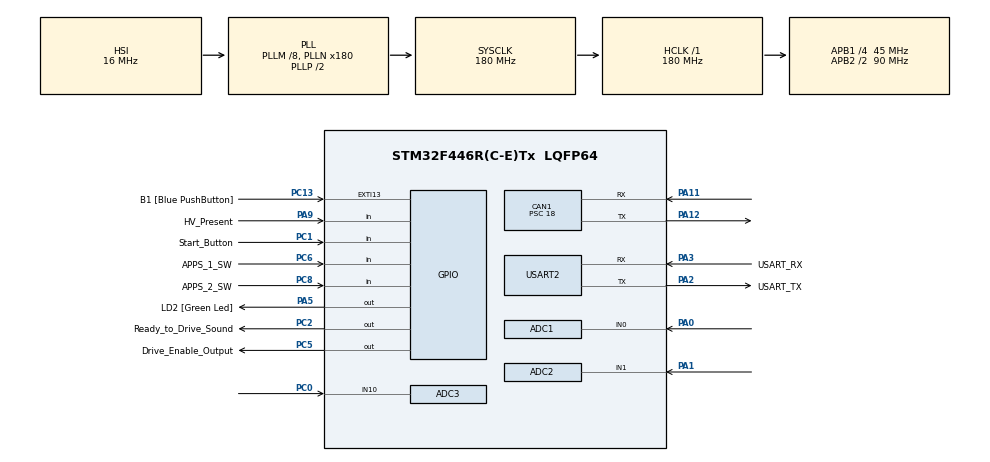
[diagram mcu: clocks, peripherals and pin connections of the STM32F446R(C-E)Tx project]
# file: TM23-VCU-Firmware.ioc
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ADC1.Channel-1\#ChannelRegularConversion=ADC_CHANNEL_0
ADC1.ContinuousConvMode=ENABLE
ADC1.DMAContinuousRequests=ENABLE
ADC1.NbrOfConversion=1
ADC1.NbrOfConversionFlag=1
ADC1.Rank-1\#ChannelRegularConversion=1
ADC1.SamplingTime-1\#ChannelRegularConversion=ADC_SAMPLETIME_3CYCLES
ADC1.master=1
ADC2.Channel-0\#ChannelRegularConversion=ADC_CHANNEL_1
ADC2.ContinuousConvMode=ENABLE
ADC2.DMAContinuousRequests=ENABLE
ADC2.NbrOfConversionFlag=1
ADC2.Rank-0\#ChannelRegularConversion=1
ADC2.SamplingTime-0\#ChannelRegularConversion=ADC_SAMPLETIME_3CYCLES
ADC2.ScanConvMode=DISABLE
ADC3.Channel-0\#ChannelRegularConversion=ADC_CHANNEL_10
ADC3.ContinuousConvMode=ENABLE
ADC3.DMAContinuousRequests=ENABLE
ADC3.NbrOfConversion=1
ADC3.NbrOfConversionFlag=1
ADC3.Rank-0\#ChannelRegularConversion=1
ADC3.SamplingTime-0\#ChannelRegularConversion=ADC_SAMPLETIME_3CYCLES
CAN1.BS1=CAN_BS1_2TQ
CAN1.BS2=CAN_BS2_2TQ
CAN1.CalculateBaudRate=500000
CAN1.CalculateTimeBit=2000
CAN1.CalculateTimeQuantum=400.0
CAN1.NART=ENABLE
CAN1.Prescaler=18
Dma.ADC1.0.Direction=DMA_PERIPH_TO_MEMORY
Dma.ADC1.0.FIFOMode=DMA_FIFOMODE_ENABLE
Dma.ADC1.0.FIFOThreshold=DMA_FIFO_THRESHOLD_FULL
Dma.ADC1.0.Instance=DMA2_Stream0
Dma.ADC1.0.MemBurst=DMA_MBURST_SINGLE
Dma.ADC1.0.MemDataAlignment=DMA_MDATAALIGN_HALFWORD
Dma.ADC1.0.MemInc=DMA_MINC_ENABLE
Dma.ADC1.0.Mode=DMA_CIRCULAR
Dma.ADC1.0.PeriphBurst=DMA_PBURST_SINGLE
Dma.ADC1.0.PeriphDataAlignment=DMA_PDATAALIGN_HALFWORD
Dma.ADC1.0.PeriphInc=DMA_PINC_DISABLE
Dma.ADC1.0.Priority=DMA_PRIORITY_LOW
Dma.ADC2.1.Direction=DMA_PERIPH_TO_MEMORY
Dma.ADC2.1.FIFOMode=DMA_FIFOMODE_ENABLE
Dma.ADC2.1.FIFOThreshold=DMA_FIFO_THRESHOLD_FULL
Dma.ADC2.1.Instance=DMA2_Stream2
Dma.ADC2.1.MemBurst=DMA_MBURST_SINGLE
Dma.ADC2.1.MemDataAlignment=DMA_MDATAALIGN_HALFWORD
Dma.ADC2.1.MemInc=DMA_MINC_ENABLE
Dma.ADC2.1.Mode=DMA_CIRCULAR
Dma.ADC2.1.PeriphBurst=DMA_PBURST_SINGLE
Dma.ADC2.1.PeriphDataAlignment=DMA_PDATAALIGN_HALFWORD
Dma.ADC2.1.PeriphInc=DMA_PINC_DISABLE
Dma.ADC2.1.Priority=DMA_PRIORITY_LOW
Dma.ADC3.2.Direction=DMA_PERIPH_TO_MEMORY
Dma.ADC3.2.FIFOMode=DMA_FIFOMODE_ENABLE
Dma.ADC3.2.FIFOThreshold=DMA_FIFO_THRESHOLD_FULL
Dma.ADC3.2.Instance=DMA2_Stream1
Dma.ADC3.2.MemBurst=DMA_MBURST_SINGLE
Dma.ADC3.2.MemDataAlignment=DMA_MDATAALIGN_HALFWORD
Dma.ADC3.2.MemInc=DMA_MINC_ENABLE
Dma.ADC3.2.Mode=DMA_CIRCULAR
Dma.ADC3.2.PeriphBurst=DMA_PBURST_SINGLE
Dma.ADC3.2.PeriphDataAlignment=DMA_PDATAALIGN_HALFWORD
Dma.ADC3.2.PeriphInc=DMA_PINC_DISABLE
Dma.ADC3.2.Priority=DMA_PRIORITY_LOW
Dma.Request0=ADC1
Dma.Request1=ADC2
Dma.Request2=ADC3
Mcu.Family=STM32F4
Mcu.Name=STM32F446R(C-E)Tx
Mcu.Package=LQFP64
NVIC.CAN1_RX0_IRQn=true\:0\:0\:false\:false\:true\:true\:true\:true
NVIC.DMA2_Stream0_IRQn=true\:0\:0\:false\:false\:true\:false\:true\:true
NVIC.DMA2_Stream1_IRQn=true\:0\:0\:false\:false\:true\:false\:true\:true
NVIC.DMA2_Stream2_IRQn=true\:0\:0\:false\:false\:true\:false\:true\:true
NVIC.PriorityGroup=NVIC_PRIORITYGROUP_0
PA0-WKUP.Signal=ADCx_IN0
PA1.Signal=ADCx_IN1
PA11.Mode=CAN_Activate
PA11.Signal=CAN1_RX
PA12.Mode=CAN_Activate
PA12.Signal=CAN1_TX
PA13.GPIO_Label=TMS
PA13.Mode=Serial_Wire
PA13.Signal=SYS_JTMS-SWDIO
PA14.GPIO_Label=TCK
PA14.Mode=Serial_Wire
PA14.Signal=SYS_JTCK-SWCLK
PA2.GPIO_Label=USART_TX
PA2.Mode=Asynchronous
PA2.Signal=USART2_TX
PA3.GPIO_Label=USART_RX
PA3.Mode=Asynchronous
PA3.Signal=USART2_RX
PA5.GPIO_Label=LD2 [Green Led]
PA5.Signal=GPIO_Output
PA9.GPIO_Label=HV_Present
PA9.Signal=GPIO_Input
PB3.GPIO_Label=SWO
PB3.Signal=SYS_JTDO-SWO
PC0.Signal=ADCx_IN10
PC1.GPIO_Label=Start_Button
PC1.Signal=GPIO_Input
PC13.GPIO_Label=B1 [Blue PushButton]
PC13.GPIO_ModeDefaultEXTI=GPIO_MODE_IT_FALLING
PC13.Signal=GPXTI13
PC14-OSC32_IN.Mode=LSE-External-Oscillator
PC14-OSC32_IN.Signal=RCC_OSC32_IN
PC15-OSC32_OUT.Mode=LSE-External-Oscillator
PC15-OSC32_OUT.Signal=RCC_OSC32_OUT
PC2.GPIO_Label=Ready_to_Drive_Sound
PC2.Signal=GPIO_Output
PC5.GPIO_Label=Drive_Enable_Output
PC5.GPIO_ModeDefaultOutputPP=GPIO_MODE_OUTPUT_OD
PC5.GPIO_PuPd=GPIO_PULLUP
PC5.PinState=GPIO_PIN_RESET
PC5.Signal=GPIO_Output
PC6.GPIO_Label=APPS_1_SW
PC6.Signal=GPIO_Input
PC8.GPIO_Label=APPS_2_SW
PC8.Signal=GPIO_Input
PH0-OSC_IN.Mode=HSE-External-Oscillator
PH0-OSC_IN.Signal=RCC_OSC_IN
PH1-OSC_OUT.Mode=HSE-External-Oscillator
PH1-OSC_OUT.Signal=RCC_OSC_OUT
ProjectManager.HeapSize=0x200
ProjectManager.StackSize=0x400
ProjectManager.TargetToolchain=STM32CubeIDE
RCC.48MHZClocksFreq_Value=84000000
RCC.AHBFreq_Value=180000000
RCC.APB1CLKDivider=RCC_HCLK_DIV4
RCC.APB1Freq_Value=45000000
RCC.APB1TimFreq_Value=90000000
RCC.APB2CLKDivider=RCC_HCLK_DIV2
RCC.APB2Freq_Value=90000000
RCC.APB2TimFreq_Value=180000000
RCC.CortexFreq_Value=180000000
RCC.FLatency-AdvancedSettings=FLASH_LATENCY_5
RCC.HCLKFreq_Value=180000000
RCC.HSE_VALUE=8000000
RCC.HSI_VALUE=16000000
RCC.PLLM=8
RCC.PLLN=180
RCC.SYSCLKFreq_VALUE=180000000
RCC.SYSCLKSource=RCC_SYSCLKSOURCE_PLLCLK
RCC.USBFreq_Value=180000000
RCC.VCOOutputFreq_Value=360000000
SH.ADCx_IN0.0=ADC1_IN0,IN0
SH.ADCx_IN1.0=ADC2_IN1,IN1
SH.ADCx_IN10.0=ADC3_IN10,IN10
USART2.VirtualMode=VM_ASYNC
board=NUCLEO-F446RE

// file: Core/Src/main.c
/* USER CODE BEGIN Header */
/**
 ******************************************************************************
 * @file           : main.c
 * @brief          : Main program body
 ******************************************************************************
 * @attention
 *
 * Copyright (c) 2022 STMicroelectronics.
 * All rights reserved.
 *
 * This software is licensed under terms that can be found in the LICENSE file
 * in the root directory of this software component.
 * If no LICENSE file comes with this software, it is provided AS-IS.
 *
 ******************************************************************************
 */
/* USER CODE END Header */
#include "main.h"

/* USER CODE BEGIN Includes */
#include <string.h>
#include <stdio.h>
#include <stdbool.h>
#include <stdlib.h>
#include <states.h>
/* USER CODE END Includes */

/* USER CODE BEGIN PD */
//#define APPS_BUF_LEN 4096
const uint32_t bpsThreshold = 2000; //need to set to store the signal value which corresponds to brakes being pressed
const uint32_t bps_MIN = 400; //Below range ADC value for BPS
const uint32_t bps_MAX = 3900; //Above range ADC value for BPS
const uint32_t APPS_0_MIN = 200; //Below range ADC value for APPS_0
const uint32_t APPS_0_MAX = 2800; //Above range ADC value for APPS_0
const uint32_t APPS_1_MIN = 400; //Below range ADC value for APPS_1
const uint32_t APPS_1_MAX = 3900; //Above range ADC value for APPS_1

//#define LOOP_TIME_INTERVAL  0.001 //loop time in counts x milliseconds, 0.001 x 0.001 == 0.001s -> 10000Hz
#define LOOP_TIME_INTERVAL  100 //loop time in counts x milliseconds, 100 x 0.001 == 0.1s -> 10Hz
#define SQRT_2 1.4142
/* USER CODE END PD */

ADC_HandleTypeDef hadc1;
ADC_HandleTypeDef hadc2;
ADC_HandleTypeDef hadc3;
DMA_HandleTypeDef hdma_adc1;
DMA_HandleTypeDef hdma_adc2;
DMA_HandleTypeDef hdma_adc3;

CAN_HandleTypeDef hcan1;

UART_HandleTypeDef huart2;

/* USER CODE BEGIN PV */
//uint16_t apps_Buf[APPS_BUF_LEN];
uint32_t appsVal[2]; //to store APPS ADC values
uint32_t apps_Pedal_Position[2]; //to store APPS Pedal Position Values (in %)

uint32_t bpsVal[2]; //to store Brake Pressure Sensor values

uint8_t BMS_Current_Limit;
float DC_Max_Current = 100.0;
float AC_Max_Current = 100.0 * SQRT_2; //Peak not RMS

//CAN Message ID's
uint32_t BMS_Current_Limit_ID = 0x00000A07;
uint32_t Drive_Enable_ID = 0x00000C07;
uint32_t Set_AC_Current_ID = 0x00000107;

bool ready_to_drive = false;

bool APPS_Failure = false;
bool implausibility = false;
bool bms_Current_Limit_Ready = false;
/* USER CODE END PV */

void SystemClock_Config(void);
static void MX_GPIO_Init(void);
static void MX_DMA_Init(void);
static void MX_USART2_UART_Init(void);
static void MX_ADC1_Init(void);
static void MX_ADC2_Init(void);
static void MX_ADC3_Init(void);
static void MX_CAN1_Init(void);
/* USER CODE BEGIN PFP */
static void monitor_Signals(void);
static void Ready_to_Drive(void);
static void APPS_Mapping(uint32_t *appsVal_0, uint32_t *appsVal_1,
		uint32_t apps_PP[]);
static void running_State(void);
static void BSPD_Trip_State(void);
static void error_State(void);
/* USER CODE END PFP */

/* USER CODE BEGIN 0 */
CAN_TxHeaderTypeDef TxHeader;
CAN_RxHeaderTypeDef RxHeader;

uint8_t TxData[8];
uint8_t RxData[8];

uint32_t TxMailbox;

char msg[256];
char msg1[256];
uint32_t current_time, time_diff, prev_time, main_loop_count;

//FSM Definitions
STATEVAR current_State = STANDBY_STATE;
STATEVAR last_State = UNDEFINED_STATE;
uint8_t errorCode = ERR_NONE;

//void HAL_CAN_RxFifo0MsgPendingCallback(CAN_HandleTypeDef *hcan) {
//
//	if (HAL_CAN_GetRxMessage(hcan, CAN_RX_FIFO0, &RxHeader, RxData) != HAL_OK) {
//		Error_Handler();
//	}
//
//	//Received message from BMS about current limit (Need to config. CAN filter, so VCU only accepts messages from BMS based on BMS CAN I.D)
//	if (RxHeader.ExtId == BMS_Current_Limit_ID) {
//		bms_Current_Limit_Ready = true;
//		BMS_Current_Limit = RxData[1] / 10;
//		sprintf(msg, "BMS_Current_Limit (%ld) = %d \r\n", RxHeader.ExtId,
//				BMS_Current_Limit);
//		HAL_UART_Transmit(&huart2, (uint8_t*) msg, strlen(msg), HAL_MAX_DELAY);
//	} //end if
//}
/* USER CODE END 0 */

int main(void) {

	/* MCU Configuration--------------------------------------------------------*/

	/* Reset of all peripherals, Initializes the Flash interface and the Systick. */
	HAL_Init();

	/* Configure the system clock */
	SystemClock_Config();

	/* Initialize all configured peripherals */
	MX_GPIO_Init();
	MX_DMA_Init();
	MX_USART2_UART_Init();
	MX_ADC1_Init();
	MX_ADC2_Init();
	MX_ADC3_Init();
	MX_CAN1_Init();
	/* USER CODE BEGIN 2 */
	HAL_ADC_Start_DMA(&hadc1, &appsVal[0], 1); //start the ADC for APPS 1 (Rotational Sensor) in DMA mode
	HAL_ADC_Start_DMA(&hadc2, &appsVal[1], 1); //start the ADC for APPS 2 (Linear Sensor) in DMA mode
	HAL_ADC_Start_DMA(&hadc3, &bpsVal[0], 1); //start the ADC for Brake Pressure Sensors in DMA mode

	//Start the CAN Bus
//	HAL_CAN_Start(&hcan1);
//
////	Initialize the CAN RX Interrupt
//	if (HAL_CAN_ActivateNotification(&hcan1, CAN_IT_RX_FIFO0_MSG_PENDING)
//			!= HAL_OK) {
//		Error_Handler();
//	}
//
//	//Setting Required Data Values for CAN frame
//	TxHeader.DLC = 8;	//data length in bytes
////	TxHeader.IDE = CAN_ID_STD; //specify standard CAN ID
//	TxHeader.IDE = CAN_ID_EXT; //specify Extended CAN ID
//	TxHeader.RTR = CAN_RTR_DATA; //specifies we are sending a CAN frame
//	TxHeader.TransmitGlobalTime = DISABLE;

	char msg[256];
//	uint32_t AC_Current_Command;
//	uint32_t ERPM_command;

	//initialize counters
	prev_time = 0;
	current_time = 0;
	time_diff = 0;
	main_loop_count = 0;

	/* USER CODE END 2 */

	/* Infinite loop */
	while (1) {

		/* USER CODE BEGIN 3 */

		//Should always be monitoring for signals from APPS, Brake sensors and TS active
		monitor_Signals();

		// FSM (Finite State Machine)
		switch (current_State) {

		case STANDBY_STATE:
			Ready_to_Drive();
			break;

		case RUNNING_STATE:
			running_State();
			break;

		case BSPD_TRIP_STATE:
			BSPD_Trip_State();
			break;

		case ERROR_STATE:
			error_State();

		default: // You tried to enter a state not defined in this switch-case
			current_State = ERROR_STATE;
			errorCode |= ERR_STATE_UNDEFINED;
			error_State();

		} //end switch case

		time_diff = current_time - prev_time; //calculate time difference

		if (time_diff >= LOOP_TIME_INTERVAL) {

			// if 100ms have elapsed since last time this condition became true,
			// then execute your program functions

			/* execute your program functions*/
			HAL_GPIO_TogglePin(GPIOA, GPIO_PIN_5);

//			APPS_Mapping(&appsVal[0], &appsVal[1], apps_Pedal_Position);
//
//			sprintf(msg, "APPS_1 = %lu \t APPS_2 = %lu \t PP1 = %lu \t\r\n",
//					appsVal[0], appsVal[1], apps_Pedal_Position[0]);
//			HAL_UART_Transmit(&huart2, (uint8_t*) msg, strlen(msg),
//			HAL_MAX_DELAY);

			prev_time = current_time; // update previous time

		} else {
			current_time = HAL_GetTick();
		}
		main_loop_count++;

	} //end infinite while loop

	/* USER CODE END 3 */
}

void SystemClock_Config(void) {
	RCC_OscInitTypeDef RCC_OscInitStruct = { 0 };
	RCC_ClkInitTypeDef RCC_ClkInitStruct = { 0 };

	/** Configure the main internal regulator output voltage
	 */
	__HAL_RCC_PWR_CLK_ENABLE();
	__HAL_PWR_VOLTAGESCALING_CONFIG(PWR_REGULATOR_VOLTAGE_SCALE1);

	/** Initializes the RCC Oscillators according to the specified parameters
	 * in the RCC_OscInitTypeDef structure.
	 */
	RCC_OscInitStruct.OscillatorType = RCC_OSCILLATORTYPE_HSI;
	RCC_OscInitStruct.HSIState = RCC_HSI_ON;
	RCC_OscInitStruct.HSICalibrationValue = RCC_HSICALIBRATION_DEFAULT;
	RCC_OscInitStruct.PLL.PLLState = RCC_PLL_ON;
	RCC_OscInitStruct.PLL.PLLSource = RCC_PLLSOURCE_HSI;
	RCC_OscInitStruct.PLL.PLLM = 8;
	RCC_OscInitStruct.PLL.PLLN = 180;
	RCC_OscInitStruct.PLL.PLLP = RCC_PLLP_DIV2;
	RCC_OscInitStruct.PLL.PLLQ = 2;
	RCC_OscInitStruct.PLL.PLLR = 2;
	if (HAL_RCC_OscConfig(&RCC_OscInitStruct) != HAL_OK) {
		Error_Handler();
	}

	/** Activate the Over-Drive mode
	 */
	if (HAL_PWREx_EnableOverDrive() != HAL_OK) {
		Error_Handler();
	}

	/** Initializes the CPU, AHB and APB buses clocks
	 */
	RCC_ClkInitStruct.ClockType = RCC_CLOCKTYPE_HCLK | RCC_CLOCKTYPE_SYSCLK
			| RCC_CLOCKTYPE_PCLK1 | RCC_CLOCKTYPE_PCLK2;
	RCC_ClkInitStruct.SYSCLKSource = RCC_SYSCLKSOURCE_PLLCLK;
	RCC_ClkInitStruct.AHBCLKDivider = RCC_SYSCLK_DIV1;
	RCC_ClkInitStruct.APB1CLKDivider = RCC_HCLK_DIV4;
	RCC_ClkInitStruct.APB2CLKDivider = RCC_HCLK_DIV2;

	if (HAL_RCC_ClockConfig(&RCC_ClkInitStruct, FLASH_LATENCY_5) != HAL_OK) {
		Error_Handler();
	}
}

static void MX_ADC1_Init(void) {

	ADC_ChannelConfTypeDef sConfig = { 0 };

	/** Configure the global features of the ADC (Clock, Resolution, Data Alignment and number of conversion)
	 */
	hadc1.Instance = ADC1;
	hadc1.Init.ClockPrescaler = ADC_CLOCK_SYNC_PCLK_DIV4;
	hadc1.Init.Resolution = ADC_RESOLUTION_12B;
	hadc1.Init.ScanConvMode = DISABLE;
	hadc1.Init.ContinuousConvMode = ENABLE;
	hadc1.Init.DiscontinuousConvMode = DISABLE;
	hadc1.Init.ExternalTrigConvEdge = ADC_EXTERNALTRIGCONVEDGE_NONE;
	hadc1.Init.ExternalTrigConv = ADC_SOFTWARE_START;
	hadc1.Init.DataAlign = ADC_DATAALIGN_RIGHT;
	hadc1.Init.NbrOfConversion = 1;
	hadc1.Init.DMAContinuousRequests = ENABLE;
	hadc1.Init.EOCSelection = ADC_EOC_SINGLE_CONV;
	if (HAL_ADC_Init(&hadc1) != HAL_OK) {
		Error_Handler();
	}

	/** Configure for the selected ADC regular channel its corresponding rank in the sequencer and its sample time.
	 */
	sConfig.Channel = ADC_CHANNEL_0;
	sConfig.Rank = 1;
	sConfig.SamplingTime = ADC_SAMPLETIME_3CYCLES;
	if (HAL_ADC_ConfigChannel(&hadc1, &sConfig) != HAL_OK) {
		Error_Handler();
	}

}

static void MX_ADC2_Init(void) {

	ADC_ChannelConfTypeDef sConfig = { 0 };

	/** Configure the global features of the ADC (Clock, Resolution, Data Alignment and number of conversion)
	 */
	hadc2.Instance = ADC2;
	hadc2.Init.ClockPrescaler = ADC_CLOCK_SYNC_PCLK_DIV4;
	hadc2.Init.Resolution = ADC_RESOLUTION_12B;
	hadc2.Init.ScanConvMode = DISABLE;
	hadc2.Init.ContinuousConvMode = ENABLE;
	hadc2.Init.DiscontinuousConvMode = DISABLE;
	hadc2.Init.ExternalTrigConvEdge = ADC_EXTERNALTRIGCONVEDGE_NONE;
	hadc2.Init.ExternalTrigConv = ADC_SOFTWARE_START;
	hadc2.Init.DataAlign = ADC_DATAALIGN_RIGHT;
	hadc2.Init.NbrOfConversion = 1;
	hadc2.Init.DMAContinuousRequests = ENABLE;
	hadc2.Init.EOCSelection = ADC_EOC_SINGLE_CONV;
	if (HAL_ADC_Init(&hadc2) != HAL_OK) {
		Error_Handler();
	}

	/** Configure for the selected ADC regular channel its corresponding rank in the sequencer and its sample time.
	 */
	sConfig.Channel = ADC_CHANNEL_1;
	sConfig.Rank = 1;
	sConfig.SamplingTime = ADC_SAMPLETIME_3CYCLES;
	if (HAL_ADC_ConfigChannel(&hadc2, &sConfig) != HAL_OK) {
		Error_Handler();
	}

}

static void MX_ADC3_Init(void) {

	ADC_ChannelConfTypeDef sConfig = { 0 };

	/** Configure the global features of the ADC (Clock, Resolution, Data Alignment and number of conversion)
	 */
	hadc3.Instance = ADC3;
	hadc3.Init.ClockPrescaler = ADC_CLOCK_SYNC_PCLK_DIV4;
	hadc3.Init.Resolution = ADC_RESOLUTION_12B;
	hadc3.Init.ScanConvMode = DISABLE;
	hadc3.Init.ContinuousConvMode = ENABLE;
	hadc3.Init.DiscontinuousConvMode = DISABLE;
	hadc3.Init.ExternalTrigConvEdge = ADC_EXTERNALTRIGCONVEDGE_NONE;
	hadc3.Init.ExternalTrigConv = ADC_SOFTWARE_START;
	hadc3.Init.DataAlign = ADC_DATAALIGN_RIGHT;
	hadc3.Init.NbrOfConversion = 1;
	hadc3.Init.DMAContinuousRequests = ENABLE;
	hadc3.Init.EOCSelection = ADC_EOC_SINGLE_CONV;
	if (HAL_ADC_Init(&hadc3) != HAL_OK) {
		Error_Handler();
	}

	/** Configure for the selected ADC regular channel its corresponding rank in the sequencer and its sample time.
	 */
	sConfig.Channel = ADC_CHANNEL_10;
	sConfig.Rank = 1;
	sConfig.SamplingTime = ADC_SAMPLETIME_3CYCLES;
	if (HAL_ADC_ConfigChannel(&hadc3, &sConfig) != HAL_OK) {
		Error_Handler();
	}

}

static void MX_CAN1_Init(void) {

	hcan1.Instance = CAN1;
	hcan1.Init.Prescaler = 18;
	hcan1.Init.Mode = CAN_MODE_NORMAL;
	hcan1.Init.SyncJumpWidth = CAN_SJW_1TQ;
	hcan1.Init.TimeSeg1 = CAN_BS1_2TQ;
	hcan1.Init.TimeSeg2 = CAN_BS2_2TQ;
	hcan1.Init.TimeTriggeredMode = DISABLE;
	hcan1.Init.AutoBusOff = DISABLE;
	hcan1.Init.AutoWakeUp = DISABLE;
	hcan1.Init.AutoRetransmission = ENABLE;
	hcan1.Init.ReceiveFifoLocked = DISABLE;
	hcan1.Init.TransmitFifoPriority = DISABLE;
	if (HAL_CAN_Init(&hcan1) != HAL_OK) {
		Error_Handler();
	}
	/* USER CODE BEGIN CAN1_Init 2 */
	CAN_FilterTypeDef canfilterconfig;
	canfilterconfig.FilterActivation = CAN_FILTER_ENABLE;
	canfilterconfig.FilterBank = 0;
	canfilterconfig.FilterFIFOAssignment = CAN_RX_FIFO0;
	canfilterconfig.FilterIdHigh = 0;
	canfilterconfig.FilterIdLow = 0x0000;
	canfilterconfig.FilterMaskIdHigh = 0;
	canfilterconfig.FilterMaskIdLow = 0x0000;
	canfilterconfig.FilterMode = CAN_FILTERMODE_IDMASK;
	canfilterconfig.FilterScale = CAN_FILTERSCALE_32BIT;
	canfilterconfig.SlaveStartFilterBank = 0; // how many filters to assign to the CAN1 (master can)

	HAL_CAN_ConfigFilter(&hcan1, &canfilterconfig);
	/* USER CODE END CAN1_Init 2 */

}

static void MX_USART2_UART_Init(void) {

	huart2.Instance = USART2;
	huart2.Init.BaudRate = 115200;
	huart2.Init.WordLength = UART_WORDLENGTH_8B;
	huart2.Init.StopBits = UART_STOPBITS_1;
	huart2.Init.Parity = UART_PARITY_NONE;
	huart2.Init.Mode = UART_MODE_TX_RX;
	huart2.Init.HwFlowCtl = UART_HWCONTROL_NONE;
	huart2.Init.OverSampling = UART_OVERSAMPLING_16;
	if (HAL_UART_Init(&huart2) != HAL_OK) {
		Error_Handler();
	}

}

static void MX_DMA_Init(void) {

	/* DMA controller clock enable */
	__HAL_RCC_DMA2_CLK_ENABLE();

	/* DMA interrupt init */
	/* DMA2_Stream0_IRQn interrupt configuration */
	HAL_NVIC_SetPriority(DMA2_Stream0_IRQn, 0, 0);
	HAL_NVIC_EnableIRQ(DMA2_Stream0_IRQn);
	/* DMA2_Stream1_IRQn interrupt configuration */
	HAL_NVIC_SetPriority(DMA2_Stream1_IRQn, 0, 0);
	HAL_NVIC_EnableIRQ(DMA2_Stream1_IRQn);
	/* DMA2_Stream2_IRQn interrupt configuration */
	HAL_NVIC_SetPriority(DMA2_Stream2_IRQn, 0, 0);
	HAL_NVIC_EnableIRQ(DMA2_Stream2_IRQn);

}

static void MX_GPIO_Init(void) {
	GPIO_InitTypeDef GPIO_InitStruct = { 0 };

	/* GPIO Ports Clock Enable */
	__HAL_RCC_GPIOC_CLK_ENABLE();
	__HAL_RCC_GPIOH_CLK_ENABLE();
	__HAL_RCC_GPIOA_CLK_ENABLE();
	__HAL_RCC_GPIOB_CLK_ENABLE();

	/*Configure GPIO pin Output Level */
	HAL_GPIO_WritePin(GPIOC, Ready_to_Drive_Sound_Pin | Drive_Enable_Output_Pin,
			GPIO_PIN_RESET);

	/*Configure GPIO pin Output Level */
	HAL_GPIO_WritePin(LD2_GPIO_Port, LD2_Pin, GPIO_PIN_RESET);

	/*Configure GPIO pin : B1_Pin */
	GPIO_InitStruct.Pin = B1_Pin;
	GPIO_InitStruct.Mode = GPIO_MODE_IT_FALLING;
	GPIO_InitStruct.Pull = GPIO_NOPULL;
	HAL_GPIO_Init(B1_GPIO_Port, &GPIO_InitStruct);

	/*Configure GPIO pins : Start_Button_Pin APPS_1_SW_Pin APPS_2_SW_Pin */
	GPIO_InitStruct.Pin = Start_Button_Pin | APPS_1_SW_Pin | APPS_2_SW_Pin;
	GPIO_InitStruct.Mode = GPIO_MODE_INPUT;
	GPIO_InitStruct.Pull = GPIO_NOPULL;
	HAL_GPIO_Init(GPIOC, &GPIO_InitStruct);

	/*Configure GPIO pin : Ready_to_Drive_Sound_Pin */
	GPIO_InitStruct.Pin = Ready_to_Drive_Sound_Pin;
	GPIO_InitStruct.Mode = GPIO_MODE_OUTPUT_PP;
	GPIO_InitStruct.Pull = GPIO_NOPULL;
	GPIO_InitStruct.Speed = GPIO_SPEED_FREQ_LOW;
	HAL_GPIO_Init(Ready_to_Drive_Sound_GPIO_Port, &GPIO_InitStruct);

	/*Configure GPIO pin : LD2_Pin */
	GPIO_InitStruct.Pin = LD2_Pin;
	GPIO_InitStruct.Mode = GPIO_MODE_OUTPUT_PP;
	GPIO_InitStruct.Pull = GPIO_NOPULL;
	GPIO_InitStruct.Speed = GPIO_SPEED_FREQ_LOW;
	HAL_GPIO_Init(LD2_GPIO_Port, &GPIO_InitStruct);

	/*Configure GPIO pin : Drive_Enable_Output_Pin */
	GPIO_InitStruct.Pin = Drive_Enable_Output_Pin;
	GPIO_InitStruct.Mode = GPIO_MODE_OUTPUT_OD;
	GPIO_InitStruct.Pull = GPIO_PULLUP;
	GPIO_InitStruct.Speed = GPIO_SPEED_FREQ_LOW;
	HAL_GPIO_Init(Drive_Enable_Output_GPIO_Port, &GPIO_InitStruct);

	/*Configure GPIO pin : HV_Present_Pin */
	GPIO_InitStruct.Pin = HV_Present_Pin;
	GPIO_InitStruct.Mode = GPIO_MODE_INPUT;
	GPIO_InitStruct.Pull = GPIO_NOPULL;
	HAL_GPIO_Init(HV_Present_GPIO_Port, &GPIO_InitStruct);

}

/* USER CODE BEGIN 4 */

static void monitor_Signals(void) {

//	if ((appsVal[0] < APPS_0_MIN) || (appsVal[0] > APPS_0_MAX)) {
//		errorCode |= ERR_NO_THROTTLE_SENSOR;
//		current_State = ERROR_STATE;
//	}
//
//	if ((bpsVal[0] < bps_MIN) || (bpsVal[0] > bps_MAX)) {
//		errorCode |= ERR_NO_BRAKE_SENSOR;
//		current_State = ERROR_STATE;
//	}

	//	if (!HV_Present) {
	//		current_State = STANDBY_STATE;
	//	}

} //end monitor_Signals()

static void Ready_to_Drive(void) {

	if (last_State != STANDBY_STATE) {
		last_State = STANDBY_STATE;
	}
	//checking if brakes are pressed, start button is pressed and HV Present at the same time
	if ((bpsVal[0] >= bpsThreshold)
			&& (!HAL_GPIO_ReadPin(Start_Button_GPIO_Port,
			Start_Button_Pin))) {

//			if ((bpsVal[0] >= bpsThreshold)
//					&& (!HAL_GPIO_ReadPin(Start_Button_GPIO_Port,
//					Start_Button_Pin))
//					&& (!HAL_GPIO_ReadPin(HV_Present_GPIO_Port, HV_Present_Pin)))

		//sound buzzer for minimum of 1 second and maximum of 3 seconds using timer

		//Method 1
		HAL_GPIO_TogglePin(Ready_to_Drive_Sound_GPIO_Port,
		Ready_to_Drive_Sound_Pin);
		HAL_Delay(2000); //sound buzzer for 2 seconds
		HAL_GPIO_TogglePin(Ready_to_Drive_Sound_GPIO_Port,
		Ready_to_Drive_Sound_Pin);

		//Method 2
		//HAL_GPIO_WritePin(Ready_to_Drive_Sound_GPIO_Port,
		//Ready_to_Drive_Sound_Pin, GPIO_PIN_SET);
		//HAL_Delay(2000); //sound buzzer for 2 seconds
		//HAL_GPIO_WritePin(Ready_to_Drive_Sound_GPIO_Port,
		//Ready_to_Drive_Sound_Pin, GPIO_PIN_RESET);

		sprintf(msg, "Ready to Drive Enabled...\n");
		HAL_UART_Transmit(&huart2, (uint8_t*) msg, strlen(msg),
		HAL_MAX_DELAY);

		current_State = RUNNING_STATE;

	} //end if

} //end Ready_to_Drive()

static void APPS_Mapping(uint32_t *appsVal_0, uint32_t *appsVal_1,
		uint32_t apps_PP[]) {

	apps_PP[1] = 0.08849557 * (*appsVal_1) - 37.168141592;

	if (apps_PP[1] < 0) {
		apps_PP[1] = 0;
	} //end if
	if (apps_PP[1] > 100) {
		apps_PP[1] = 100;
	} //end if

	apps_PP[0] = 0.05405405 * (*appsVal_0) - 35.13513513;

	if (apps_PP[0] < 0) {
		apps_PP[0] = 0;
	} //end if
	if (apps_PP[0] > 100) {
		apps_PP[0] = 100;
	} //end if

} //end APPS_Mapping()

static void running_State(void) {

	if (last_State != RUNNING_STATE) {
		last_State = RUNNING_STATE;

		// Turn Drive Enable ON

		//Toggle GPIO method
		HAL_GPIO_TogglePin(Drive_Enable_Output_GPIO_Port,
		Drive_Enable_Output_Pin);

		//PIN_SET GPIO method (preferred method as it clearly sets the GPIO PIN state)
//		HAL_GPIO_WritePin(Drive_Enable_Output_GPIO_Port, Drive_Enable_Output_Pin, GPIO_PIN_SET);

		sprintf(msg, "Running State...\n");
		HAL_UART_Transmit(&huart2, (uint8_t*) msg, strlen(msg),
		HAL_MAX_DELAY);
	} //end if

	APPS_Mapping(&appsVal[0], &appsVal[1], apps_Pedal_Position);

	if ((apps_Pedal_Position[0] > 25) && (bpsVal[0] > bpsThreshold)) {
		current_State = BSPD_TRIP_STATE;
	} //end if

} //end running()

static void BSPD_Trip_State(void) {

	if (last_State != BSPD_TRIP_STATE) {

		last_State = BSPD_TRIP_STATE;

		// Turn Drive Enable OFF

		//Toggle GPIO method
		HAL_GPIO_TogglePin(Drive_Enable_Output_GPIO_Port,
		Drive_Enable_Output_Pin);

		//PIN_RESET GPIO method (preferred method as it clearly sets the GPIO PIN state)
//		HAL_GPIO_WritePin(Drive_Enable_Output_GPIO_Port, Drive_Enable_Output_Pin, GPIO_PIN_RESET);

		sprintf(msg, "BSPD Trip State...\n");
		HAL_UART_Transmit(&huart2, (uint8_t*) msg, strlen(msg),
		HAL_MAX_DELAY);
	} //end if

	// Send CAN message to notify in BSPD trip state

	if ((apps_Pedal_Position[0] < 5) && bpsVal[0] < bpsThreshold) {
		current_State = RUNNING_STATE;
	} //end if

} //end BSPD_Trip_State()

static void error_State(void) {

	// Should get here if throttle or brake sensor are out of range

	// Turn Drive Enable OFF

	//PIN_RESET GPIO method (preferred method as it clearly sets the GPIO PIN state)
	HAL_GPIO_WritePin(Drive_Enable_Output_GPIO_Port, Drive_Enable_Output_Pin,
			GPIO_PIN_RESET);

	if (last_State != ERROR_STATE) {
		last_State = ERROR_STATE;

		sprintf(msg, "Error State...\n");
		HAL_UART_Transmit(&huart2, (uint8_t*) msg, strlen(msg),
		HAL_MAX_DELAY);

		// Display errors over Serial
		// TODO: Also Send CAN message to notify in error state

		if (errorCode == ERR_NONE) {
			sprintf(msg, "   *Error state, but no error code logged...");
			HAL_UART_Transmit(&huart2, (uint8_t*) msg, strlen(msg),
			HAL_MAX_DELAY);
		}
		if (errorCode & ERR_NO_BRAKE_SENSOR) {
			sprintf(msg, "   *Error state, No brake sensor detected");
			HAL_UART_Transmit(&huart2, (uint8_t*) msg, strlen(msg),
			HAL_MAX_DELAY);
		}
		if (errorCode & ERR_NO_THROTTLE_SENSOR) {
			sprintf(msg, "   *Error state, No throttle sensor detected");
			HAL_UART_Transmit(&huart2, (uint8_t*) msg, strlen(msg),
			HAL_MAX_DELAY);
		}
		if (errorCode & ERR_STATE_UNDEFINED) {
			sprintf(msg, "   *State not defined in The State Machine.");
			HAL_UART_Transmit(&huart2, (uint8_t*) msg, strlen(msg),
			HAL_MAX_DELAY);
		}

	} //end if

} //end errorState()

void HAL_ADC_ConvHalfCpltCallback(ADC_HandleTypeDef *hadc) {

}
/* USER CODE END 4 */

void Error_Handler(void) {
	__disable_irq();
	while (1) {
	}
}
